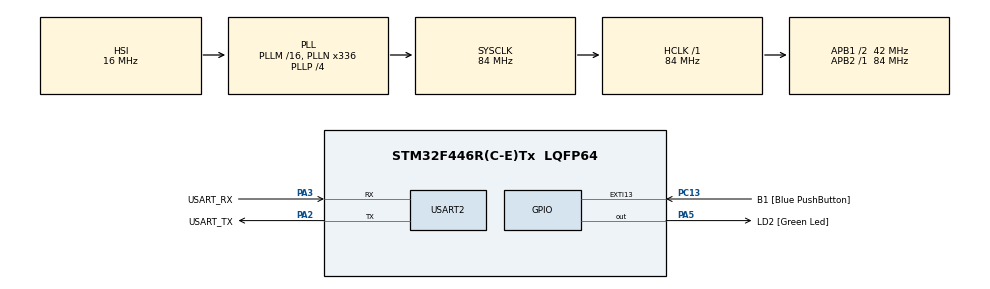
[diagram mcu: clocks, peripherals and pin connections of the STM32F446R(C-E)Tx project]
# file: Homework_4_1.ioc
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Mcu.Family=STM32F4
Mcu.Name=STM32F446R(C-E)Tx
Mcu.Package=LQFP64
NVIC.PriorityGroup=NVIC_PRIORITYGROUP_0
PA13.GPIO_Label=TMS
PA13.Mode=Serial_Wire
PA13.Signal=SYS_JTMS-SWDIO
PA14.GPIO_Label=TCK
PA14.Mode=Serial_Wire
PA14.Signal=SYS_JTCK-SWCLK
PA2.GPIO_Label=USART_TX
PA2.Mode=Asynchronous
PA2.Signal=USART2_TX
PA3.GPIO_Label=USART_RX
PA3.Mode=Asynchronous
PA3.Signal=USART2_RX
PA5.GPIO_Label=LD2 [Green Led]
PA5.Signal=GPIO_Output
PB3.GPIO_Label=SWO
PB3.Signal=SYS_JTDO-SWO
PC13.GPIO_Label=B1 [Blue PushButton]
PC13.GPIO_ModeDefaultEXTI=GPIO_MODE_IT_FALLING
PC13.Signal=GPXTI13
PC14-OSC32_IN.Mode=LSE-External-Oscillator
PC14-OSC32_IN.Signal=RCC_OSC32_IN
PC15-OSC32_OUT.Mode=LSE-External-Oscillator
PC15-OSC32_OUT.Signal=RCC_OSC32_OUT
PH0-OSC_IN.Mode=HSE-External-Oscillator
PH0-OSC_IN.Signal=RCC_OSC_IN
PH1-OSC_OUT.Mode=HSE-External-Oscillator
PH1-OSC_OUT.Signal=RCC_OSC_OUT
ProjectManager.HeapSize=0x200
ProjectManager.StackSize=0x400
ProjectManager.TargetToolchain=STM32CubeIDE
RCC.48MHZClocksFreq_Value=84000000
RCC.AHBFreq_Value=84000000
RCC.APB1CLKDivider=RCC_HCLK_DIV2
RCC.APB1Freq_Value=42000000
RCC.APB1TimFreq_Value=84000000
RCC.APB2Freq_Value=84000000
RCC.APB2TimFreq_Value=84000000
RCC.CortexFreq_Value=84000000
RCC.FLatency-AdvancedSettings=FLASH_LATENCY_2
RCC.HCLKFreq_Value=84000000
RCC.HSE_VALUE=8000000
RCC.HSI_VALUE=16000000
RCC.PLLN=336
RCC.PLLP=RCC_PLLP_DIV4
RCC.SYSCLKFreq_VALUE=84000000
RCC.SYSCLKSource=RCC_SYSCLKSOURCE_PLLCLK
RCC.USBFreq_Value=168000000
RCC.VCOOutputFreq_Value=336000000
USART2.VirtualMode=VM_ASYNC
board=NUCLEO-F446RE

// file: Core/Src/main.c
/* USER CODE BEGIN Header */
/**
  ******************************************************************************
  * @file           : main.c
  * @brief          : Main program body
  ******************************************************************************
  * @attention
  *
  * Copyright (c) 2025 STMicroelectronics.
  * All rights reserved.
  *
  * This software is licensed under terms that can be found in the LICENSE file
  * in the root directory of this software component.
  * If no LICENSE file comes with this software, it is provided AS-IS.
  *
  ******************************************************************************
  */
/* USER CODE END Header */
#include "main.h"
#include "model_data_q1.h" // Python'dan gelen agirliklar ve resim
#include <math.h>       // pow, sqrt, exp fonksiyonlari icin
/* USER CODE BEGIN Includes */
float sigmoid(float x) {
    return 1.0f / (1.0f + expf(-x));
}

// ---------------------------------------------------------
// Hu Moment Hesaplama Fonksiyonu (OpenCV Mantigiyla)
// ---------------------------------------------------------
void calculate_hu_moments(const uint8_t img[28][28], float hu[7]) {
    // 1. Raw Moments (m_pq) Hesaplama
    // OpenCV'de binaryImage=True kullanildigi icin pixel > 0 ise 1.0 kabul edilir.
    double m00 = 0, m10 = 0, m01 = 0;
    // double m20 = 0, m11 = 0, m02 = 0; // Merkez momentlerde tekrar hesaplayacagiz

    // Agirlik merkezini bulmak icin ilk tur
    for (int y = 0; y < 28; y++) {
        for (int x = 0; x < 28; x++) {
            // Python'daki cv2.moments(img, True) mantigi:
            // Pixel degeri 0 degilse 1 kabul et.
            double val = (img[y][x] > 0) ? 1.0 : 0.0;

            m00 += val;
            m10 += x * val;
            m01 += y * val;
        }
    }

    // Eger resim tamamen siyahsa bolme hatasi olmasin
    if (m00 == 0) {
        for(int i=0; i<7; i++) hu[i] = 0.0f;
        return;
    }

    // 2. Center of Mass (Agirlik Merkezi)
    double cx = m10 / m00;
    double cy = m01 / m00;

    // 3. Central Moments (mu_pq)
    // Formül: sum((x - cx)^p * (y - cy)^q * val)
    double mu20 = 0, mu11 = 0, mu02 = 0;
    double mu30 = 0, mu21 = 0, mu12 = 0, mu03 = 0;

    for (int y = 0; y < 28; y++) {
        for (int x = 0; x < 28; x++) {
            double val = (img[y][x] > 0) ? 1.0 : 0.0;
            double dx = x - cx;
            double dy = y - cy;

            mu20 += dx * dx * val;
            mu11 += dx * dy * val;
            mu02 += dy * dy * val;
            mu30 += dx * dx * dx * val;
            mu21 += dx * dx * dy * val;
            mu12 += dx * dy * dy * val;
            mu03 += dy * dy * dy * val;
        }
    }

    // 4. Normalized Central Moments (nu_pq)
    // Formül: nu_pq = mu_pq / m00^(1 + (p+q)/2)
    double inv_m00_2 = 1.0 / (pow(m00, 2));     // p+q=2 icin
    double inv_m00_2_5 = 1.0 / (pow(m00, 2.5)); // p+q=3 icin

    double nu20 = mu20 * inv_m00_2;
    double nu11 = mu11 * inv_m00_2;
    double nu02 = mu02 * inv_m00_2;
    double nu30 = mu30 * inv_m00_2_5;
    double nu21 = mu21 * inv_m00_2_5;
    double nu12 = mu12 * inv_m00_2_5;
    double nu03 = mu03 * inv_m00_2_5;

    // 5. Hu Moments (h1..h7) Hesaplama
    // OpenCV HuMoments formülleri
    double t1 = nu20 + nu02;
    double t2 = nu20 - nu02;
    double t3 = nu30 - 3 * nu12;
    double t4 = 3 * nu21 - nu03;
    double t5 = nu30 + nu12;
    double t6 = nu21 + nu03;

    hu[0] = (float)t1;
    hu[1] = (float)(t2 * t2 + 4 * nu11 * nu11);
    hu[2] = (float)(t3 * t3 + t4 * t4);
    hu[3] = (float)(t5 * t5 + t6 * t6);
    hu[4] = (float)(t3 * t5 * (t5 * t5 - 3 * t6 * t6) + t4 * t6 * (3 * t5 * t5 - t6 * t6));
    hu[5] = (float)(t2 * (t5 * t5 - t6 * t6) + 4 * nu11 * t5 * t6);
    hu[6] = (float)(t4 * t5 * (t5 * t5 - 3 * t6 * t6) - t3 * t6 * (3 * t5 * t5 - t6 * t6));
}

// ---------------------------------------------------------
// Tahmin Fonksiyonu (Yapay Zeka Modeli)
// ---------------------------------------------------------
float predict_digit(float hu_moments[7]) {
    float sum = 0.0f;
    float normalized_val;

    // Agirliklar ve Normalizasyon ile Hesaplama
    for (int i = 0; i < 7; i++) {
        // (Deger - Ortalama) / StandartSapma
        normalized_val = (hu_moments[i] - MODEL_MEAN[i]) / MODEL_STD[i];

        // Agirlikla carp ve toplama ekle
        sum += normalized_val * MODEL_WEIGHTS[i];
    }

    // Bias Ekle
    sum += MODEL_BIAS;

    // Sigmoid uygula
    return sigmoid(sum);
}

// Sonuclari saklamak icin global degiskenler (Debug ekraninda izlemek icin)
float calculated_hu[7];
float prediction_result = 0.0f;
int detected_class = -1; // 0: SIFIR, 1: SIFIR DEGIL
/* USER CODE END Includes */

UART_HandleTypeDef huart2;

void SystemClock_Config(void);
static void MX_GPIO_Init(void);
static void MX_USART2_UART_Init(void);

int main(void)
{

  /* MCU Configuration--------------------------------------------------------*/

  /* Reset of all peripherals, Initializes the Flash interface and the Systick. */
  HAL_Init();

  /* Configure the system clock */
  SystemClock_Config();

  /* Initialize all configured peripherals */
  MX_GPIO_Init();
  MX_USART2_UART_Init();
  calculate_hu_moments(sample_image, calculated_hu);

    // 2. Modeli Calistir (Tahmin Et)
  prediction_result = predict_digit(calculated_hu);

    // 3. Karar Ver (Threshold: 0.5)
  if (prediction_result < 0.5f) {
        detected_class = 0; // Bu bir SIFIR rakami
        // Eger bir LED varsa yakabilirsiniz: HAL_GPIO_WritePin(...);
 } else {
        detected_class = 1; // Bu SIFIR DEGIL (Baska bir rakam)
 }
  /* Infinite loop */
  while (1)
  {

  }
}

void SystemClock_Config(void)
{
  RCC_OscInitTypeDef RCC_OscInitStruct = {0};
  RCC_ClkInitTypeDef RCC_ClkInitStruct = {0};

  /** Configure the main internal regulator output voltage
  */
  __HAL_RCC_PWR_CLK_ENABLE();
  __HAL_PWR_VOLTAGESCALING_CONFIG(PWR_REGULATOR_VOLTAGE_SCALE3);

  /** Initializes the RCC Oscillators according to the specified parameters
  * in the RCC_OscInitTypeDef structure.
  */
  RCC_OscInitStruct.OscillatorType = RCC_OSCILLATORTYPE_HSI;
  RCC_OscInitStruct.HSIState = RCC_HSI_ON;
  RCC_OscInitStruct.HSICalibrationValue = RCC_HSICALIBRATION_DEFAULT;
  RCC_OscInitStruct.PLL.PLLState = RCC_PLL_ON;
  RCC_OscInitStruct.PLL.PLLSource = RCC_PLLSOURCE_HSI;
  RCC_OscInitStruct.PLL.PLLM = 16;
  RCC_OscInitStruct.PLL.PLLN = 336;
  RCC_OscInitStruct.PLL.PLLP = RCC_PLLP_DIV4;
  RCC_OscInitStruct.PLL.PLLQ = 2;
  RCC_OscInitStruct.PLL.PLLR = 2;
  if (HAL_RCC_OscConfig(&RCC_OscInitStruct) != HAL_OK)
  {
    Error_Handler();
  }

  /** Initializes the CPU, AHB and APB buses clocks
  */
  RCC_ClkInitStruct.ClockType = RCC_CLOCKTYPE_HCLK|RCC_CLOCKTYPE_SYSCLK
                              |RCC_CLOCKTYPE_PCLK1|RCC_CLOCKTYPE_PCLK2;
  RCC_ClkInitStruct.SYSCLKSource = RCC_SYSCLKSOURCE_PLLCLK;
  RCC_ClkInitStruct.AHBCLKDivider = RCC_SYSCLK_DIV1;
  RCC_ClkInitStruct.APB1CLKDivider = RCC_HCLK_DIV2;
  RCC_ClkInitStruct.APB2CLKDivider = RCC_HCLK_DIV1;

  if (HAL_RCC_ClockConfig(&RCC_ClkInitStruct, FLASH_LATENCY_2) != HAL_OK)
  {
    Error_Handler();
  }
}

static void MX_USART2_UART_Init(void)
{

  huart2.Instance = USART2;
  huart2.Init.BaudRate = 115200;
  huart2.Init.WordLength = UART_WORDLENGTH_8B;
  huart2.Init.StopBits = UART_STOPBITS_1;
  huart2.Init.Parity = UART_PARITY_NONE;
  huart2.Init.Mode = UART_MODE_TX_RX;
  huart2.Init.HwFlowCtl = UART_HWCONTROL_NONE;
  huart2.Init.OverSampling = UART_OVERSAMPLING_16;
  if (HAL_UART_Init(&huart2) != HAL_OK)
  {
    Error_Handler();
  }

}

static void MX_GPIO_Init(void)
{
  GPIO_InitTypeDef GPIO_InitStruct = {0};

  /* GPIO Ports Clock Enable */
  __HAL_RCC_GPIOC_CLK_ENABLE();
  __HAL_RCC_GPIOH_CLK_ENABLE();
  __HAL_RCC_GPIOA_CLK_ENABLE();
  __HAL_RCC_GPIOB_CLK_ENABLE();

  /*Configure GPIO pin Output Level */
  HAL_GPIO_WritePin(LD2_GPIO_Port, LD2_Pin, GPIO_PIN_RESET);

  /*Configure GPIO pin : B1_Pin */
  GPIO_InitStruct.Pin = B1_Pin;
  GPIO_InitStruct.Mode = GPIO_MODE_IT_FALLING;
  GPIO_InitStruct.Pull = GPIO_NOPULL;
  HAL_GPIO_Init(B1_GPIO_Port, &GPIO_InitStruct);

  /*Configure GPIO pin : LD2_Pin */
  GPIO_InitStruct.Pin = LD2_Pin;
  GPIO_InitStruct.Mode = GPIO_MODE_OUTPUT_PP;
  GPIO_InitStruct.Pull = GPIO_NOPULL;
  GPIO_InitStruct.Speed = GPIO_SPEED_FREQ_LOW;
  HAL_GPIO_Init(LD2_GPIO_Port, &GPIO_InitStruct);

}

void Error_Handler(void)
{
  __disable_irq();
  while (1)
  {
  }
}
